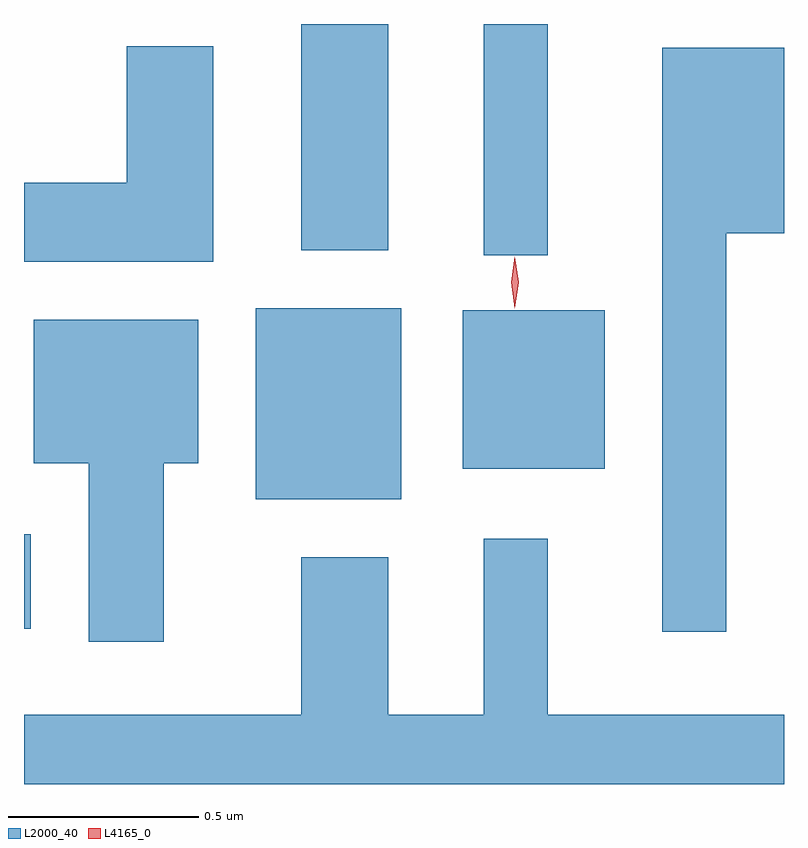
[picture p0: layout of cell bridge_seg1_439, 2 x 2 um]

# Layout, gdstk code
import gdstk
lib = gdstk.Library(unit=1e-6, precision=1e-09)
def R(c, l, rs):  # rectangles x0, y0, x1, y1
    for r in rs: c.add(gdstk.rectangle(r[:2], r[2:], *l))
def P(c, l, *ps):  # polygons
    for p in ps: c.add(gdstk.Polygon(p, *l))
L2000_40 = (2000, 40)
L4165_0 = (4165, 0)

bridge_seg1_439 = lib.new_cell('bridge_seg1_439')
R(bridge_seg1_439, L2000_40, [(331.801,940.031,331.819,940.279), (332.411,940.371,332.794,940.874), (332.956,940.451,333.329,940.869), (333.011,941.013,333.179,941.622), (332.531,941.026,332.759,941.622)])
P(bridge_seg1_439, L2000_40, [(332.299,941.564),(332.071,941.564),(332.071,941.204),(331.801,941.204),(331.801,940.996),(332.299,940.996)],
  [(333.649,941.071),(333.801,941.071),(333.801,941.559),(333.481,941.559),(333.481,940.023),(333.649,940.023)],
  [(332.169,940.466),(332.259,940.466),(332.259,940.844),(331.826,940.844),(331.826,940.466),(331.971,940.466),(331.971,939.996),(332.169,939.996)],
  [(333.801,939.804),(333.179,939.804),(333.179,940.268),(333.011,940.268),(333.011,939.804),(332.759,939.804),(332.759,940.219),(332.531,940.219),(332.531,939.804),(331.801,939.804),(331.801,939.622),(333.801,939.622)])
P(bridge_seg1_439, L4165_0, [(333.092,940.878),(333.083,940.942),(333.092,941.007),(333.093,941.007),(333.093,941.007),(333.103,940.942),(333.093,940.878),(333.093,940.878)],
  [(333.092,940.874),(333.083,940.942),(333.092,941.01),(333.093,941.01),(333.093,941.01),(333.103,940.942),(333.093,940.874),(333.093,940.874)])

lib.write_gds('bridge_seg1_439.gds')
